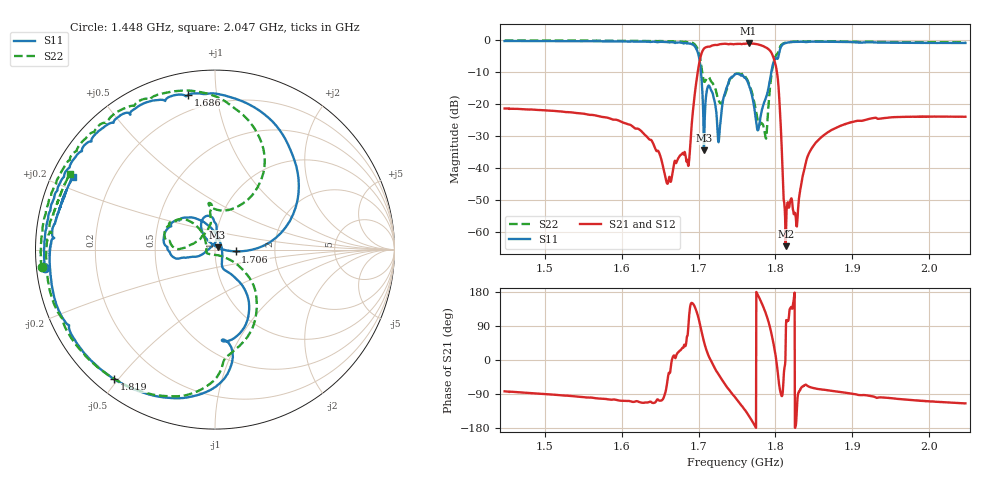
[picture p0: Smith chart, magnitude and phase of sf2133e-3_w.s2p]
# Hz S RI R 50
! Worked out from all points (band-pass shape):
!   1601 points, 1.448 GHz to 2.047 GHz, reference 50 ohm
!   highest |S21| = -1.16 dB at 1.765 GHz (marker M1); lowest = -64.3 dB at 1.813 GHz (marker M2)
!   |S21| within 3 dB of the highest: 1.704 GHz to 1.795 GHz (91.08 MHz wide, 5.21 % of centre)
!   lowest |S11| = -34.4 dB at 1.707 GHz (marker M3), VSWR 1.04, Z = 51.4 + j1.29 ohm
!   |S11| at or under -10 dB: 1.703 GHz to 1.795 GHz (91.7 MHz wide, 5.24 % of centre)
!   |S22| runs from -30.8 to -0.2 dB; largest |S21 - S12| = 0.0016
!   S11 on the Smith chart (normalised r, x): 1.448 GHz: 0.02, -0.05; 1.686 GHz: 0.11, +0.84; 1.706 GHz: 1.26, -0.03; 1.819 GHz: 0.05, -0.49; 2.047 GHz: 0.06, +0.24
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1.4475e9  -0.9459 -0.1043  0.0109 -0.0843  0.0108 -0.0848  -0.9657 -0.0988
1.547625e9  -0.9292 0.1754  -0.0089 -0.0704  -0.00896 -0.0704  -0.9523 0.1587
1.64775e9  -0.6889 0.607  -0.00491 -0.0177  -0.005 -0.0178  -0.7679 0.5609
1.660875e9  -0.5755 0.7072  0.00509 -0.00384  0.0051 -0.00384  -0.6812 0.6541
1.685625e9  -0.1498 0.8629  0.00574 0.0118  0.00574 0.0117  -0.358 0.8424
1.699125e9  0.4602 0.4303  -0.1465 0.287  -0.1458 0.2861  0.2206 0.6744
1.7055e9  0.1154 -0.0104  0.3244 0.5959  0.3236 0.5957  0.128 0.2409
1.707e9  0.0143 0.0126  0.4768 0.5471  0.4758 0.547  0.0553 0.2176
1.71525e9  -0.013 0.1771  0.7858 0.0277  0.7853 0.0275  -0.0168 0.2375
1.726875e9  -0.0294 0.00676  0.644 -0.5491  0.6441 -0.5492  -0.0522 0.0947
1.7475e9  -0.2859 0.0478  -0.121 -0.848  -0.1212 -0.8479  -0.281 0.0736
1.765125e9  -0.1075 0.1738  -0.7241 -0.491  -0.724 -0.4911  -0.1439 0.1596
1.777125e9  0.0382 0.00737  -0.8382 0.1144  -0.8383 0.1143  -0.0488 0.0254
1.7865e9  0.0448 -0.1045  -0.4867 0.5982  -0.4867 0.598  -0.0206 -0.0271
1.8e9  0.0935 -0.5015  0.4021 0.1191  0.4015 0.1192  0.1498 -0.5227
1.8045e9  0.0977 -0.5696  0.088 -0.1372  0.088 -0.1368  0.0277 -0.6814
1.8135e9  -0.3687 -0.8067  0.000457 0.000407  0.00044 0.000445  -0.4676 -0.7682
1.8195e9  -0.5633 -0.7215  -0.00225 0.00209  -0.00229 0.00209  -0.6406 -0.6664
1.827375e9  -0.7122 -0.595  -0.00116 -0.000498  -0.00116 -0.000519  -0.7711 -0.5342
1.847625e9  -0.8661 -0.348  0.00604 -0.0197  0.00612 -0.0198  -0.9027 -0.2868
1.94775e9  -0.8784 0.188  -0.0108 -0.0604  -0.0109 -0.0603  -0.8943 0.2163
2.0475e9  -0.7919 0.4044  -0.0261 -0.0576  -0.0264 -0.0577  -0.8092 0.4194
